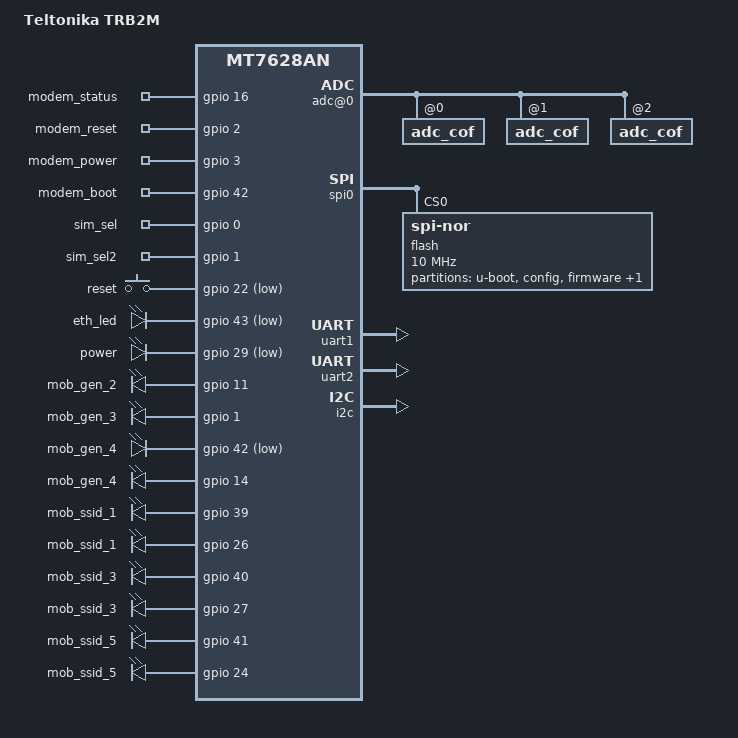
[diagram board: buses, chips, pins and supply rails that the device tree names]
// SPDX-License-Identifier: GPL-2.0-or-later OR MIT
/dts-v1/;

#include <dt-bindings/input/input.h>
#include <dt-bindings/gpio/gpio.h>
#include "mt7628an.dtsi"
#include "platform_name.dtsi"

/ {
	compatible = "teltonika,trb2m", "mediatek,mt7628an-soc";
	model = "Teltonika TRB2M";

	chosen {
		bootargs = "console=ttyS0,115200 root=/dev/mtdblock4";
	};

	gpio-export {
		compatible = "gpio-export";
		#size-cells = <0>;

		gpio_modem_status {
			gpio-export,name = "modem_status";
			gpios = <&gpio 16 GPIO_ACTIVE_HIGH>;
		};

		gpio_modem_reset {
			gpio-export,name = "modem_reset";
			gpio-export,output = <0>;
			gpios = <&gpio 2 GPIO_ACTIVE_HIGH>;
		};

		gpio_modem_power {
			gpio-export,name = "modem_power";
			gpio-export,output = <0>;
			gpios = <&gpio 3 GPIO_ACTIVE_HIGH>;
		};

		gpio_modem_boot {
			gpio-export,name = "modem_boot";
			gpio-export,output = <0>;
			gpios = <&gpio 42 GPIO_ACTIVE_HIGH>;
			tlt-mnf,device = "TRB247";
		};

		gpio_sim_select {
			gpio-export,name = "sim_sel";
			gpio-export,output = <0>;
			gpios = <&gpio 0 GPIO_ACTIVE_HIGH>;
		};

		gpio_sim_select_2 {
			gpio-export,name = "sim_sel2";
			gpio-export,output = <0>;
			gpios = <&gpio 1 GPIO_ACTIVE_HIGH>;
			tlt-mnf,device = "TRB247";
		};
	};

	keys {
		compatible = "gpio-keys";

		reset {
			label = "reset";
			gpios = <&gpio 22 GPIO_ACTIVE_LOW>;
			linux,code = <KEY_RESTART>;
			debounce-interval = <60>;
		};
	};

	leds {
		compatible = "gpio-leds";

		eth_led {
			label = "eth_led";
			gpios = <&gpio 43 GPIO_ACTIVE_LOW>;
		};

		led_power {
			label = "power";
			gpios = <&gpio 29 GPIO_ACTIVE_LOW>;
			default-state = "on";
			retain-state-shutdown;
		};

		led_gen_2 {
			label = "mob_gen_2";
			gpios = <&gpio 11 GPIO_ACTIVE_HIGH>;
			tlt-mnf,device = "TRB246", "TRB256";
		};

		led_gen_3 {
			label = "mob_gen_3";
			gpios = <&gpio 1 GPIO_ACTIVE_HIGH>;
			tlt-mnf,device = "TRB246", "TRB256";
		};

		led_gen_4@1 {
			label = "mob_gen_4";
			gpios = <&gpio 42 GPIO_ACTIVE_LOW>;
			tlt-mnf,device = "TRB246", "TRB256";
		};

		led_gen_4 {
			label = "mob_gen_4";
			gpios = <&gpio 14 GPIO_ACTIVE_HIGH>; //NB1 LED for EG915Q modem
			tlt-mnf,device = "TRB247";
		};

		// led_gen_2 {
		// 	label = "mob_gen_2";
		// 	gpios = <&gpio 15 GPIO_ACTIVE_HIGH>;
		// 	tlt-mnf,device = "TRB247";
		// };

		// led_gen_nb1 {
		// 	label = "mob_gen_nb1";
		// 	gpios = <&gpio 14 GPIO_ACTIVE_HIGH>;
		// 	tlt-mnf,device = "TRB247";
		// };

		// led_gen_m1 {
		// 	label = "mob_gen_m1";
		// 	gpios = <&gpio 28 GPIO_ACTIVE_HIGH>;
		// 	tlt-mnf,device = "TRB247";
		// };

		led_ssid_1@1 {
			label = "mob_ssid_1";
			gpios = <&gpio 39 GPIO_ACTIVE_HIGH>;
			tlt-mnf,device = "TRB246", "TRB256";
			linux,default-trigger = "timer";
		};

		led_ssid_1 {
			label = "mob_ssid_1";
			gpios = <&gpio 26 GPIO_ACTIVE_HIGH>;
			tlt-mnf,device = "TRB247";
			linux,default-trigger = "timer";
		};

		led_ssid_3@1 {
			label = "mob_ssid_3";
			gpios = <&gpio 40 GPIO_ACTIVE_HIGH>;
			tlt-mnf,device = "TRB246", "TRB256";
			linux,default-trigger = "timer";
		};

		led_ssid_3 {
			label = "mob_ssid_3";
			gpios = <&gpio 27 GPIO_ACTIVE_HIGH>;
			tlt-mnf,device = "TRB247";
			linux,default-trigger = "timer";
		};

		led_ssid_5@1 {
			label = "mob_ssid_5";
			gpios = <&gpio 41 GPIO_ACTIVE_HIGH>;
			tlt-mnf,device = "TRB246", "TRB256";
			linux,default-trigger = "timer";
		};

		led_ssid_5 {
			label = "mob_ssid_5";
			gpios = <&gpio 24 GPIO_ACTIVE_HIGH>;
			tlt-mnf,device = "TRB247";
			linux,default-trigger = "timer";
		};
	};

	tlt_gpios { // Modify according to wiki page "DTS syntax with Libgpiod changes"
		gpiochip_info {
			hw_0 {
				hwver = <0>;
				gpiochip_count = <3>;

				gpiochip_0 = <32>; // Built-in
				gpiochip_1 = <32>; // Built-in
				gpiochip_2 = <32>; // Built-in
			};
		};

		ioman {
			GPIO_24 {
				line_name = "GPIO_IN_1";
				compatible_model = "TRB246", "TRB256";

				active_low;
			};
			GPIO_44 {
				line_name = "GPIO_OUT_1";
			};
			GPIO_27 {
				line_name = "GPIO_IN_2";
				compatible_model = "TRB246", "TRB256";

				active_low;
			};
			GPIO_38 {
				line_name = "GPIO_OUT_2";
			};
			GPIO_14 {
				line_name = "GPIO_IN_3";
				compatible_model = "TRB246", "TRB256";

				active_low;
			};
			GPIO_37 {
				line_name = "GPIO_OUT_3";
			};
			GPIO_41 {
				line_name = "GPIO_IN_1";
				compatible_model = "TRB247";
			};
			GPIO_39 {
				line_name = "GPIO_IN_2";
				compatible_model = "TRB247";
			};
			GPIO_40 {
				line_name = "GPIO_IN_3";
				compatible_model = "TRB247";
			};
		};

		misc {
			GPIO_2 {
				line_name = "GPIO_MODEM_RESET_1";
			};
			GPIO_3 {
				line_name = "GPIO_MODEM_POWER_1";
			};
			GPIO_16 {
				line_name = "GPIO_MODEM_STATUS_1";
			};
			GPIO_0 {
				line_name = "GPIO_SIM_SELECT";
			};
			GPIO_1 {
				line_name = "GPIO_SIM_SELECT_2";
				compatible_model = "TRB247";
			};
			GPIO_4 {
				line_name = "GPIO_RS485_D_EN";
				compatible_model = "TRB246", "TRB256";
			};
			GPIO_5 {
				line_name = "GPIO_RS485_RX_EN";
				compatible_model = "TRB246", "TRB256";
				mode = "output-low";
			};
			GPIO_11 {
				line_name = "GPIO_RS485_RX_EN";
				compatible_model = "TRB247";
				mode = "output-low";
			};
			GPIO_6 {
				line_name = "GPIO_RS485_D_EN";
				compatible_model = "TRB247";
			};
			GPIO_42 {
				line_name = "GPIO_MODEM_BOOT";
				compatible_model = "TRB247";
			};
		};
	};

	ioman {
		layout@0 {
			io@0 { // 16pin #2
				label = "dio0";
				block_type = BLOCK_16PIN;
				block_pin = "2";
				default_direction = "out";
				gpio_in = "GPIO_IN_1";
				gpio_out = "GPIO_OUT_1";
				io_param = "g1";
			};
			io@1 { // 16pin #3
				label = "dio1";
				block_type = BLOCK_16PIN;
				block_pin = "3";
				default_direction = "in";
				gpio_in = "GPIO_IN_2";
				gpio_out = "GPIO_OUT_2";
				io_param = "g2";
			};
			io@2 { // 16pin #4
				label = "dio2";
				block_type = BLOCK_16PIN;
				block_pin = "4";
				default_direction = "in";
				gpio_in = "GPIO_IN_3";
				gpio_out = "GPIO_OUT_3";
				io_param = "g3";
			};
			adc@0 {
				label = "adc0";
				block_type = BLOCK_16PIN;
				block_pin = "11";
				tolerance = "0.01";
				io_param = "g0";

				adc_cof@0 {
					devices =  "TRB246";
					hwver = "1,99";
					port = "1";
					multiplier = "0.01098310771717256256";
				};
				adc_cof@1 {
					devices = "TRB256";
					hwver = "1,99";
					port = "0";
					multiplier = "0.02242152463556804";
				};
				adc_cof@2 {
					devices = "TRB247";
					hwver = "5,99";
					port = "0";
					multiplier = "0.03462"; //value modified after testing, original val. K=3/103
				};
			};
		};
	};
};

&mnfinfo {
	simpin1 {
		default = "";
		sec;
	};

	simpin2 {
		default = "";
		sec;
	};

	sim_cfg {
		default = "2111000_2112000";
		// esim = "0120000"
	};

};

&state_default {
	gpio {
		groups = "i2s", "p4led_an", "p3led_an", "p2led_an", "p1led_an", "p0led_an", "gpio", "wled_an", "perst", "refclk", "wdt", "spi cs1", "i2c";
		function = "gpio";
	};
};

&spi0 {
	status = "okay";

	flash@0 {
		compatible = "jedec,spi-nor";
		reg = <0>;
		spi-max-frequency = <10000000>;

		partitions {
			compatible = "fixed-partitions";
			#address-cells = <1>;
			#size-cells = <1>;

			boot: partition@0 {
				label = "u-boot";
				reg = <0x0 0x20000>;
				read-only;
			};

			config: partition@20000 {
				compatible = "nvmem-cells";
				#address-cells = <1>;
				#size-cells = <1>;

				label = "config";
				reg = <0x020000 0x010000>;
				read-only;

				macaddr_config_0: macaddr@0 {
					reg = <0x0 0x6>;
				};
			};

			partition@30000 {
				compatible = "denx,uimage";
				label = "firmware";
				reg = <0x030000 0xf40000>;
			};

			partition@f70000 {
				label = "event-log";
				reg = <0xf70000 0x90000>;
			};
		};
	};
};

&ethernet {
	nvmem-cells = <&macaddr_config_0>;
	nvmem-cell-names = "mac-address";
};

&uart1 {
	status = "okay";
	linux,rs485-enabled-at-boot-time;
	rs485-rts-delay = <0 0>;
	rs485-rx-during-tx;
};

&uart2 {
	status = "okay";
};

&i2c {
	tlt-mnf,device = "TRB247";
	status = "okay";
};
